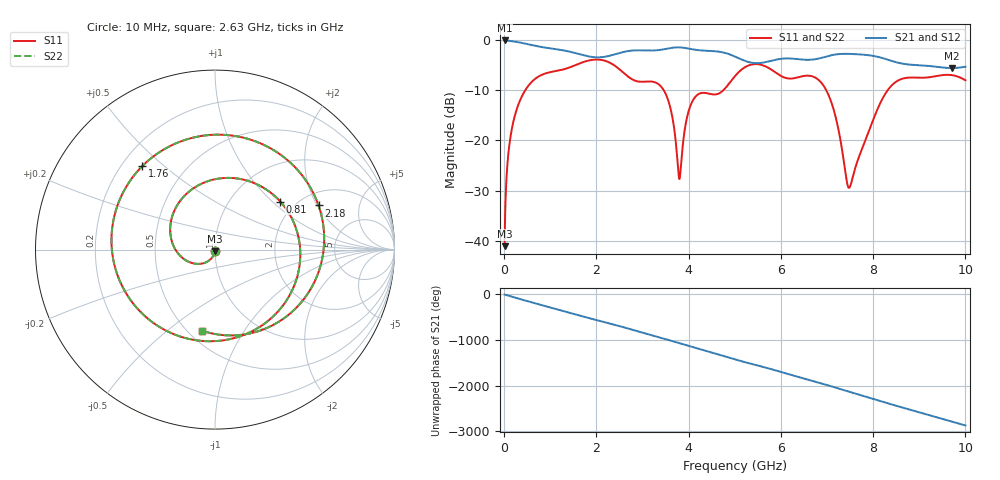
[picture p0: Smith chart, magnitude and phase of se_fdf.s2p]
! Created with skrf (http://scikit-rf.org).
# GHz S RI R 50.0
!freq ReS11 ImS11 ReS21 ImS21 ReS12 ImS12 ReS22 ImS22
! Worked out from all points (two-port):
!   1000 points, 10 MHz to 10 GHz, reference 50 ohm
!   highest |S21| = -0.01 dB at 10 MHz (marker M1); lowest = -5.5 dB at 9.7 GHz (marker M2)
!   |S21| within 3 dB of the highest: start of sweep to 1.74 GHz; 2.31 GHz to 4.95 GHz (2.64 GHz wide, 72.7 % of centre)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
!   lowest |S11| = -41.1 dB at 10 MHz (marker M3), VSWR 1.02, Z = 49.9 - j0.871 ohm
!   |S11| at or under -10 dB: start of sweep to 454.8 MHz; 3.462 GHz to 4.747 GHz (1.285 GHz wide, 31.3 % of centre); 6.986 GHz to 8.312 GHz (1.326 GHz wide, 17.3 % of centre)
!   |S22| runs from -41.1 to -3.8 dB; largest |S21 - S12| = 3.5e-08
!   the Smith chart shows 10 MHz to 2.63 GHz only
!   S11 on the Smith chart (normalised r, x): 10 MHz: 1.00, -0.02; 810 MHz: 1.67, +1.12; 1.76 GHz: 0.28, +0.42; 2.18 GHz: 2.53, +2.05; 2.63 GHz: 0.58, -0.67
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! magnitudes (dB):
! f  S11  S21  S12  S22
! 10 MHz  -41.1  0.0  0.0  -41.1
! 100 MHz  -21.9  -0.1  -0.1  -21.9
! 220 MHz  -15.5  -0.2  -0.2  -15.5
! 460 MHz  -9.9  -0.6  -0.6  -9.9
! 810 MHz  -6.9  -1.3  -1.3  -6.9
! 1.68 GHz  -4.4  -2.9  -2.9  -4.4
! 1.76 GHz  -4.2  -3.1  -3.1  -4.2
! 2.18 GHz  -4.1  -3.3  -3.3  -4.1
! 2.63 GHz  -6.8  -2.2  -2.2  -6.8
! 3.34 GHz  -8.7  -1.9  -1.9  -8.7
! 3.6 GHz  -13.3  -1.5  -1.5  -13.3
! 3.8 GHz  -27.7  -1.4  -1.4  -27.7
! 3.95 GHz  -16.0  -1.6  -1.6  -16.0
! 4.1 GHz  -11.9  -1.8  -1.8  -11.9
! 5.01 GHz  -7.1  -3.2  -3.2  -7.1
! 5.46 GHz  -4.7  -4.6  -4.6  -4.7
! 6.67 GHz  -7.2  -3.8  -3.8  -7.2
! 7.1 GHz  -12.5  -3.0  -3.0  -12.5
! 7.48 GHz  -29.5  -2.7  -2.7  -29.5
! 8.34 GHz  -9.7  -3.9  -3.9  -9.7
! 9.7 GHz  -6.9  -5.5  -5.5  -6.9
! 10 GHz  -8.0  -5.3  -5.3  -8.0
